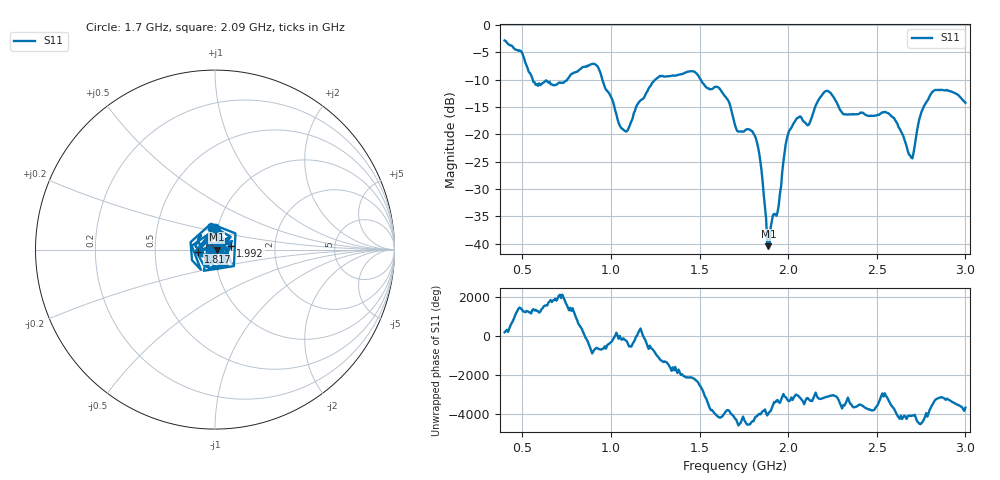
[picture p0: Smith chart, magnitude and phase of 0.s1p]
!Created with skrf (http://scikit-rf.org).
# Hz S RI R 50.0
!freq ReS11 ImS11
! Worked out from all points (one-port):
!   401 points, 400 MHz to 3 GHz, reference 50 ohm
!   lowest |S11| = -40.5 dB at 1.889 GHz (marker M1), VSWR 1.02, Z = 51 + j0.0261 ohm
!   |S11| at or under -10 dB: 558.9 MHz to 753.6 MHz (194.7 MHz wide, 29.7 % of centre); 951.8 MHz to 1.25 GHz (298.2 MHz wide, 27.1 % of centre); 1.507 GHz to end of sweep
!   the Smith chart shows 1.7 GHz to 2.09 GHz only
!   S11 on the Smith chart (normalised r, x): 1.7 GHz: 0.97, +0.24; 1.817 GHz: 0.83, -0.02; 1.992 GHz: 1.19, +0.05; 2.09 GHz: 0.92, +0.24
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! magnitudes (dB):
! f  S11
! 400 MHz  -2.8
! 497.5 MHz  -5.0
! 575.5 MHz  -10.9
! 725 MHz  -10.6
! 913.5 MHz  -7.3
! 1.05 GHz  -18.4
! 1.095 GHz  -19.2
! 1.258 GHz  -9.8
! 1.375 GHz  -9.2
! 1.466 GHz  -8.5
! 1.609 GHz  -11.5
! 1.7 GHz  -18.3
! 1.817 GHz  -20.6
! 1.843 GHz  -24.9
! 1.889 GHz  -40.5
! 1.947 GHz  -32.9
! 1.992 GHz  -20.8
! 2.025 GHz  -18.3
! 2.09 GHz  -17.7
! 2.116 GHz  -18.2
! 2.213 GHz  -12.1
! 2.35 GHz  -16.4
! 2.564 GHz  -16.1
! 2.675 GHz  -23.1
! 2.701 GHz  -24.4
! 2.753 GHz  -15.8
! 2.818 GHz  -12.1
! 3 GHz  -14.2
